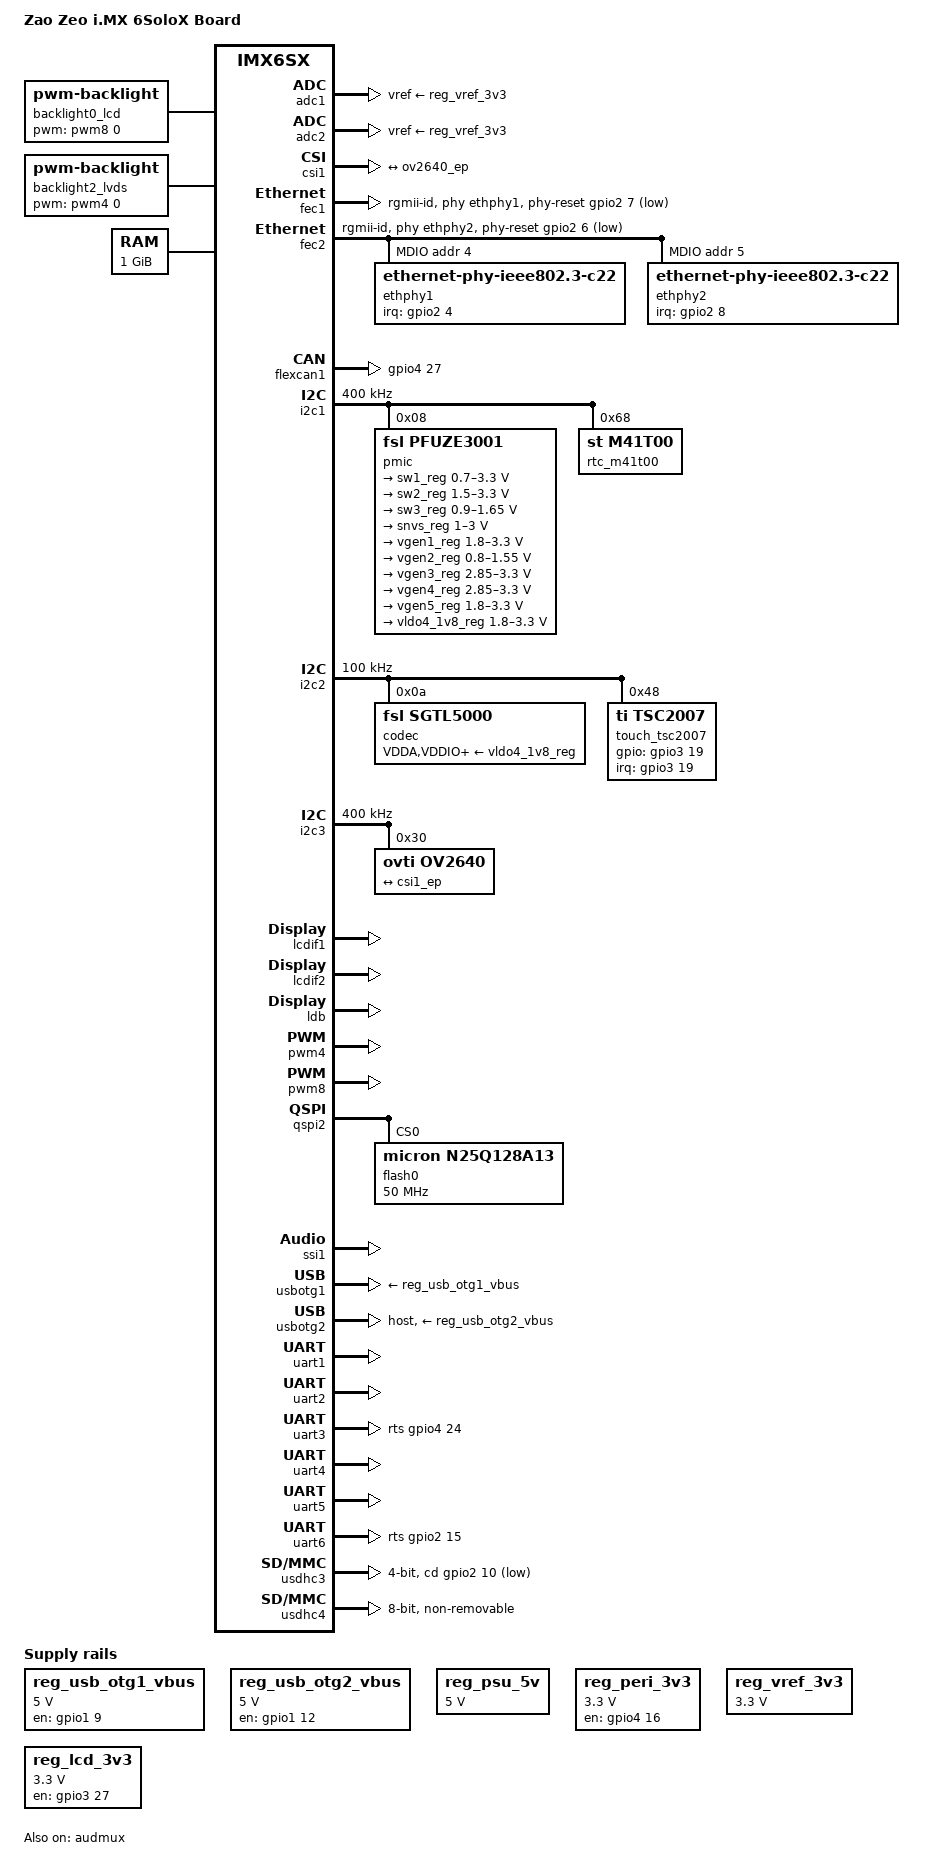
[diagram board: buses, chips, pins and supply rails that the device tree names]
/*
* Copyright (C) 2018 Zao Zeo
*/

/dts-v1/;

#include "imx6sx.dtsi"
#include "imx6sx-tionpro6-pins.dtsi"

/ {
	model = "Zao Zeo i.MX 6SoloX Board";
	compatible = "fsl,imx6sx-tionpro6", "fsl,imx6sx";

	soc {
        	#address-cells = <1>;
        	#size-cells = <1>;        	
    	};

	backlight0_lcd {
		compatible = "pwm-backlight";
		pwms = <&pwm8 0 5000000>;
		brightness-levels = <0 4 8 16 32 64 128 255>;
		default-brightness-level = <6>;
		fb-names = "mxs-lcdif0";
	};
	
	backlight2_lvds {
		compatible = "pwm-backlight";
		pwms = <&pwm4 0 5000000>;
		brightness-levels = <0 4 8 16 32 64 128 255>;
		default-brightness-level = <6>;
		fb-names = "mxs-lcdif2";
		//power-supply = <&reg_3p3v>;
	};

    	chosen {
		stdout-path = &uart1;
	};

    	memory {
		reg = <0x80000000 0x40000000>;
	};
	
	reg_usb_otg1_vbus: regulator-usb-otg1-vbus {
			compatible = "regulator-fixed";			
			pinctrl-names = "default";
			pinctrl-0 = <&pinctrl_usb_otg1_vbus>;
			regulator-name = "usb_otg1_vbus";
			regulator-min-microvolt = <5000000>;
			regulator-max-microvolt = <5000000>;
			gpio = <&gpio1 9 GPIO_ACTIVE_HIGH>;
			enable-active-high;
		};

	reg_usb_otg2_vbus: regulator-usb-otg2-vbus {
			compatible = "regulator-fixed";			
			pinctrl-names = "default";
			pinctrl-0 = <&pinctrl_usb_otg2_vbus>;
			regulator-name = "usb_otg2_vbus";
			regulator-min-microvolt = <5000000>;
			regulator-max-microvolt = <5000000>;
			gpio = <&gpio1 12 GPIO_ACTIVE_HIGH>;
			enable-active-high;
		};

		reg_psu_5v: regulator@3 {
			compatible = "regulator-fixed";
			reg = <3>;
			regulator-name = "PSU-5V0";
			regulator-min-microvolt = <5000000>;
			regulator-max-microvolt = <5000000>;
		};
	
		reg_peri_3v3: regulator@5 {
			compatible = "regulator-fixed";
			reg = <5>;
			pinctrl-names = "default";
			pinctrl-0 = <&pinctrl_peri_3v3>;
			regulator-name = "peri_3v3";
			regulator-min-microvolt = <3300000>;
			regulator-max-microvolt = <3300000>;
			gpio = <&gpio4 16 GPIO_ACTIVE_HIGH>;
			enable-active-high;
			regulator-always-on;
		};

		reg_vref_3v3: regulator@7 {
			compatible = "regulator-fixed";
			reg = <7>;
			regulator-name = "vref-3v3";
			regulator-min-microvolt = <3300000>;
			regulator-max-microvolt = <3300000>;
		};
		
		reg_lcd_3v3: regulator@9 {
			compatible = "regulator-fixed";
			reg = <9>;
			//pinctrl-names = "default";
			//pinctrl-0 = <&pinctrl_peri_3v3>;
			regulator-name = "lcd_3v3";
			regulator-min-microvolt = <3300000>;
			regulator-max-microvolt = <3300000>;
			gpio = <&gpio3 27 GPIO_ACTIVE_HIGH>;
			enable-active-high;			
		};	
		
		
	
	sound {
		compatible = "fsl,imx-audio-sgtl5000";
		model = "imx6sx-tionpro6-sgtl5000";
		ssi-controller = <&ssi1>;
		audio-codec = <&codec>;
		audio-routing =
			"MIC_IN", "Mic Jack",
			"Mic Jack", "Mic Bias",
			"Headphone Jack", "HP_OUT";
		mux-int-port = <1>;
		mux-ext-port = <5>;
  	 };
};

&adc1 {
	vref-supply = <&reg_vref_3v3>;
	status = "okay";
};

&adc2 {
	vref-supply = <&reg_vref_3v3>;
	status = "okay";
};

&audmux {
	pinctrl-names = "default";
	pinctrl-0 = <&pinctrl_audmux>;
	status = "okay";
};

&csi1 {
	status = "okay";

	port {
		csi1_ep: endpoint {
			remote-endpoint = <&ov2640_ep>;
		};
	};
};

&fec1 {
	pinctrl-names = "default";
	pinctrl-0 = <&pinctrl_enet1>;
	phy-mode = "rgmii-id";
	phy-handle = <&ethphy1>;
	//phy-supply = <&reg_3p3v>;
	phy-reset-gpios = <&gpio2 7 GPIO_ACTIVE_LOW>; 
	fsl,magic-packet;
	status = "okay";	
};

&fec2 {
	pinctrl-names = "default";
	pinctrl-0 = <&pinctrl_enet2>;
	phy-mode = "rgmii-id";
	phy-handle = <&ethphy2>;
	//phy-supply = <&reg_3p3v>;
	phy-reset-gpios = <&gpio2 6 GPIO_ACTIVE_LOW>; 
	fsl,magic-packet;
	status = "okay";
	
	mdio {
		#address-cells = <1>;
		#size-cells = <0>;

		ethphy1: ethernet-phy@4 {
			compatible = "ethernet-phy-ieee802.3-c22";
			reg = <4>;
			interrupt-parent = <&gpio2>;
			interrupts = <4 IRQ_TYPE_EDGE_FALLING>;
		};

		ethphy2: ethernet-phy@5 {
			compatible = "ethernet-phy-ieee802.3-c22";
			reg = <5>;
			interrupt-parent = <&gpio2>;
			interrupts = <8 IRQ_TYPE_EDGE_FALLING>;
		};
	};
};

&flexcan1 {
	pinctrl-names = "default";
	pinctrl-0 = <&pinctrl_can1>;
	//xceiver-supply = <&reg_can1_3v3>;
	trx_stby_gpio = <&gpio4 27 GPIO_ACTIVE_LOW>;
	gpios = <&gpio4 27 GPIO_ACTIVE_LOW>;
	status = "okay";
};

&i2c1 {
	clock-frequency = <400000>;
	pinctrl-names = "default";
	pinctrl-0 = <&pinctrl_i2c1>;
	status = "okay";

	pmic: pfuze100@08 {
		compatible = "fsl,pfuze3001";
		reg = <0x08>;

		regulators {
			sw1_reg: sw1 {
				regulator-min-microvolt = <700000>;
				regulator-max-microvolt = <3300000>;
				regulator-boot-on;
				regulator-always-on;
			};

			sw2_reg: sw2 {
				regulator-min-microvolt = <1500000>;
				regulator-max-microvolt = <3300000>;
				regulator-boot-on;
				regulator-always-on;
			};

			sw3_reg: sw3 {
				regulator-min-microvolt = <900000>;
				regulator-max-microvolt = <1650000>;
				regulator-boot-on;
				regulator-always-on;
			};

			snvs_reg: vsnvs {
				regulator-min-microvolt = <1000000>;
				regulator-max-microvolt = <3000000>;
				regulator-boot-on;
				regulator-always-on;
			};

			vgen1_reg: vldo1 {
				regulator-min-microvolt = <1800000>;
				regulator-max-microvolt = <3300000>;
				regulator-always-on;
			};

			vgen2_reg: vldo2 {
				regulator-min-microvolt = <800000>;
				regulator-max-microvolt = <1550000>;
				regulator-always-on;
			};

			vgen3_reg: vccsd {
				regulator-min-microvolt = <2850000>;
				regulator-max-microvolt = <3300000>;
				regulator-always-on;
			};

			vgen4_reg: v33 {
				regulator-min-microvolt = <2850000>;
				regulator-max-microvolt = <3300000>;
				regulator-always-on;
			};

			vgen5_reg: vldo3 {
				regulator-min-microvolt = <1800000>;
				regulator-max-microvolt = <3300000>;
				regulator-always-on;
			};

			vldo4_1v8_reg: vldo4 {
				regulator-min-microvolt = <1800000>;
				regulator-max-microvolt = <3300000>;
				regulator-always-on;
			};
		};
	};
	
	rtc_m41t00: rtc@68 {
                compatible = "st,m41t00";
                reg = <0x68>;
        };
};

&i2c2 {
	clock-frequency = <100000>;
	pinctrl-names = "default";
	pinctrl-0 = <&pinctrl_i2c2>;
	status = "okay";
	
	codec: sgtl5000@0a {
		compatible = "fsl,sgtl5000";
		pinctrl-names = "default";
		pinctrl-0 = <&pinctrl_sgtl5000>;
		reg = <0x0a>;
		clocks = <&clks IMX6SX_CLK_AUDIO>;		
		VDDA-supply = <&vldo4_1v8_reg>;
		VDDIO-supply = <&vldo4_1v8_reg>;
		VDDD-supply = <&vldo4_1v8_reg>;
		//assigned-clocks = <&clks IMX6SX_CLK_CKO2_SEL>,
		//		  <&clks IMX6SX_CLK_CKO2>;
		//assigned-clock-parents = <&clks IMX6SX_CLK_OSC>;
		//assigned-clock-rates = <0>, <24000000>;
		micbias-resistor-k-ohms = <2>;
		//micbias-voltage-m-volts = <2250>;
	};
	
	touch_tsc2007: tsc2007@48 {
                compatible = "ti,tsc2007";
                reg = <0x48>;
                pinctrl-names = "default";
		pinctrl-0 = <&pinctrl_tsc2007>;
		interrupt-parent = <&gpio3>;
		interrupts = <19 IRQ_TYPE_LEVEL_LOW>;		
		gpios = <&gpio3 19 0>;
	        ti,x-plate-ohms = <450>;
	        //ti,max-rt=
	        //ti,fuzzx
	        //ti,fuzzy
	        //ti,fuzzz
	        //ti,poll-period
	        status = "okay";
	        //status = "disabled";
            };
};

&i2c3 {
	clock-frequency = <400000>;
	pinctrl-names = "default";
	pinctrl-0 = <&pinctrl_i2c3>;
	status = "okay";
	
	ov2640: ov2640@30 {
		compatible = "ovti,ov2640";
		reg = <0x30>;
		pinctrl-names = "default";
		pinctrl-0 = <&pinctrl_csi1>;
		clocks = <&clks IMX6SX_CLK_CSI>;		
		clock-names = "xvclk";		
		ipu_id = <0>;
		csi_id = <0>;		
		assigned-clocks = <&clks IMX6SX_CLK_CSI>;
		assigned-clock-rates = <24000000>;
		
		port {
			ov2640_ep: endpoint {
				remote-endpoint = <&csi1_ep>;
			};
		};
	};
};

&i2c4 {
	clock-frequency = <400000>;
	pinctrl-names = "default";
	pinctrl-0 = <&pinctrl_i2c4>;
	status = "disabled";
};

&lcdif1 {
	pinctrl-names = "default";
	pinctrl-0 = <&pinctrl_lcd1>;
	lcd-supply = <&reg_lcd_3v3>;
	display = <&display0>;	
	status = "okay";

	display0: display@0 {
		bits-per-pixel = <16>;
		bus-width = <18>;

		display-timings {
			native-mode = <&timing0>;
			timing0: timing0 {
				clock-frequency = <25000000>;
				hactive = <640>;
				vactive = <480>;
				hback-porch = <75>;
				hfront-porch = <75>;
				vback-porch = <25>;
				vfront-porch = <10>;
				hsync-len = <10>;
				vsync-len = <10>;
				hsync-active = <0>;
				vsync-active = <0>;
				de-active = <1>;
				pixelclk-active = <1>;
			};
		};
	};
};

&lcdif2 {
	display = <&display1>;
	disp-dev = "ldb";
	//status = "disabled";
	status = "okay";
	
	assigned-clocks = <&clks IMX6SX_CLK_LCDIF2_SEL>;
	assigned-clock-parents = <&clks IMX6SX_CLK_LDB_DI0>;
	assigned-clock-rates = <0>;
	
	display1: display@1 {
		bits-per-pixel = <16>;
		bus-width = <18>;
	};
};
&ldb {
	status = "okay";
	lvds-channel@0 {
		fsl,data-mapping = "spwg";
		fsl,data-width = <18>;
		crtc = "lcdif2";
		//status = "disabled";
		status = "okay";
		
		display-timings {
			native-mode = <&timing1>;
			timing1: hsd100pxn1 {
				clock-frequency = <65000000>;
				hactive = <1024>;
				vactive = <768>;
				hback-porch = <220>;
				hfront-porch = <40>;
				vback-porch = <21>;
				vfront-porch = <7>;
				hsync-len = <60>;
				vsync-len = <10>;
			};
		};
	};
};

&pwm4 {
	pinctrl-names = "default";
	pinctrl-0 = <&pinctrl_pwm4>;
	status = "okay";
};

&pwm8 {
	pinctrl-names = "default";
	pinctrl-0 = <&pinctrl_pwm8>;
	status = "okay";
};

&qspi2 {
	pinctrl-names = "default";
	pinctrl-0 = <&pinctrl_qspi2a>;
	status = "okay";
	
	flash0: n25q128@0 {
		//u-boot,dm-pre-reloc;
		#address-cells = <1>;
		#size-cells = <1>;
		//compatible = "n25q128", "spi-flash";
		compatible = "micron,n25q128a13", "jedec,spi-nor";
		reg = <0>;      /* chip select */
		spi-max-frequency = <50000000>;
		m25p,fast-read;
		//page-size = <256>;
		//block-size = <16>; /* 2^16, 64KB */
		//read-delay = <4>;  /* delay value in read data capture register */
		//tshsl-ns = <50>;
		//tsd2d-ns = <50>;
		//tchsh-ns = <4>;
		//tslch-ns = <4>; 
	};
};

&snvs_rtc {
	status = "disabled";
};

&ssi1 {
	status = "okay";
};

&usbotg1 {
	vbus-supply = <&reg_usb_otg1_vbus>;
	pinctrl-names = "default";
	pinctrl-0 = <&pinctrl_usb_otg1>;	
	status = "okay";
};

&usbotg2 {
	vbus-supply = <&reg_usb_otg2_vbus>;
	pinctrl-names = "default";
	pinctrl-0 = <&pinctrl_usb_otg2>;
	dr_mode = "host";
	status = "okay";
};

&uart1 {
	pinctrl-names = "default";
	pinctrl-0 = <&pinctrl_uart1>;
	status = "okay";
};

&uart2 {
	pinctrl-names = "default";
	pinctrl-0 = <&pinctrl_uart2>;
	status = "okay";
};

&uart3 {
	pinctrl-names = "default";
	pinctrl-0 = <&pinctrl_uart3>;
	uart-has-rtscts;
	linux,rs485-enabled-at-boot-time;
	rs485-rx-during-tx;
	rs485-rts-delay = <0 0>;		// in milliseconds
	rs485-rts-active-high;
	rts-gpios = <&gpio4 24 0>;
	status = "okay";
};

&uart4 {
	pinctrl-names = "default";
	pinctrl-0 = <&pinctrl_uart4>;
	status = "okay";
};

&uart5 {
	pinctrl-names = "default";
	pinctrl-0 = <&pinctrl_uart5>;
	//uart-has-rtscts;
	status = "okay";
};

&uart6 {
	pinctrl-names = "default";
	pinctrl-0 = <&pinctrl_uart6>;
	uart-has-rtscts;
	linux,rs485-enabled-at-boot-time;
	rs485-rx-during-tx;
	rs485-rts-delay = <0 0>;		// in milliseconds
	rs485-rts-active-high;
	rts-gpios = <&gpio2 15 0>;
	//fsl,dte-mode;
	status = "okay";
};

&usdhc2 {
	pinctrl-names = "default";
	pinctrl-0 = <&pinctrl_usdhc2>;
	non-removable;
	no-1-8-v;
	keep-power-in-suspend;
	wakeup-source;
	status = "disabled";
};

&usdhc3 {
	pinctrl-names = "default";//, "state_100mhz", "state_200mhz";
	pinctrl-0 = <&pinctrl_usdhc3>;
	//pinctrl-1 = <&pinctrl_usdhc3_100mhz>;
	//pinctrl-2 = <&pinctrl_usdhc3_200mhz>;
	bus-width = <4>;
	cd-gpios = <&gpio2 10 GPIO_ACTIVE_LOW>;
	//wp-gpios = <&gpio2 15 GPIO_ACTIVE_HIGH>;
	//fsl,wp-controller;
	keep-power-in-suspend;
	wakeup-source;
	//vmmc-supply = <&sw3_reg>;
	status = "okay";
};

&usdhc4 {
	pinctrl-names = "default", "state_100mhz", "state_200mhz";
	pinctrl-0 = <&pinctrl_usdhc4_50mhz>;
	pinctrl-1 = <&pinctrl_usdhc4_100mhz>;
	pinctrl-2 = <&pinctrl_usdhc4_200mhz>;
	bus-width = <8>;
	non-removable;
	//vmmc-supply = <&vldo4_1v8_reg>;
	keep-power-in-suspend;		
	status = "okay";
};
